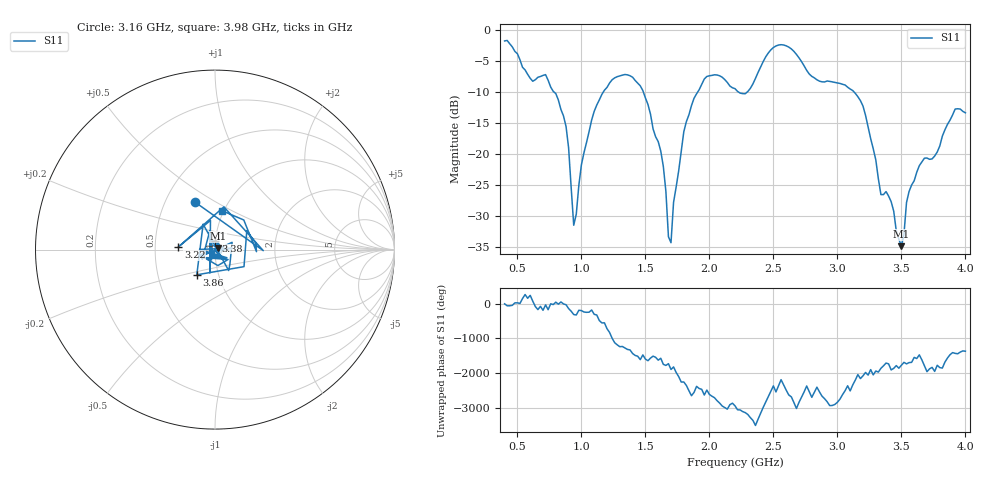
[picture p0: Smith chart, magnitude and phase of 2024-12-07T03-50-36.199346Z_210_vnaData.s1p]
!Created with skrf (http://scikit-rf.org).
# Hz S RI R 50.0
!freq ReS11 ImS11
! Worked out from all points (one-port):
!   181 points, 400 MHz to 4 GHz, reference 50 ohm
!   lowest |S11| = -34.9 dB at 3.5 GHz (marker M1), VSWR 1.04, Z = 51.7 + j0.733 ohm
!   |S11| at or under -10 dB: 785.5 MHz to 1.172 GHz (386 MHz wide, 39.4 % of centre); 1.484 GHz to 1.909 GHz (425.1 MHz wide, 25.1 % of centre); 3.13 GHz to end of sweep (the widest 3 of 4)
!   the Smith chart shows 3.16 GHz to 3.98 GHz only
!   S11 on the Smith chart (normalised r, x): 3.16 GHz: 0.70, +0.41; 3.22 GHz: 0.66, +0.02; 3.38 GHz: 1.00, +0.10; 3.86 GHz: 0.79, -0.23; 3.98 GHz: 0.98, +0.45
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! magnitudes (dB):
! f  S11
! 400 MHz  -1.8
! 620 MHz  -8.3
! 720 MHz  -7.2
! 860 MHz  -13.9
! 900 MHz  -19.0
! 940 MHz  -31.5
! 1 GHz  -21.8
! 1.1 GHz  -13.1
! 1.3 GHz  -7.4
! 1.52 GHz  -12.0
! 1.64 GHz  -22.0
! 1.68 GHz  -33.4
! 1.7 GHz  -34.3
! 1.76 GHz  -22.7
! 1.82 GHz  -14.8
! 1.96 GHz  -7.9
! 2.2 GHz  -9.5
! 2.66 GHz  -3.4
! 3.1 GHz  -9.5
! 3.16 GHz  -10.8
! 3.22 GHz  -13.8
! 3.34 GHz  -26.6
! 3.38 GHz  -26.1
! 3.5 GHz  -34.9
! 3.56 GHz  -26.1
! 3.86 GHz  -15.2
! 3.98 GHz  -13.1
! 4 GHz  -13.4
